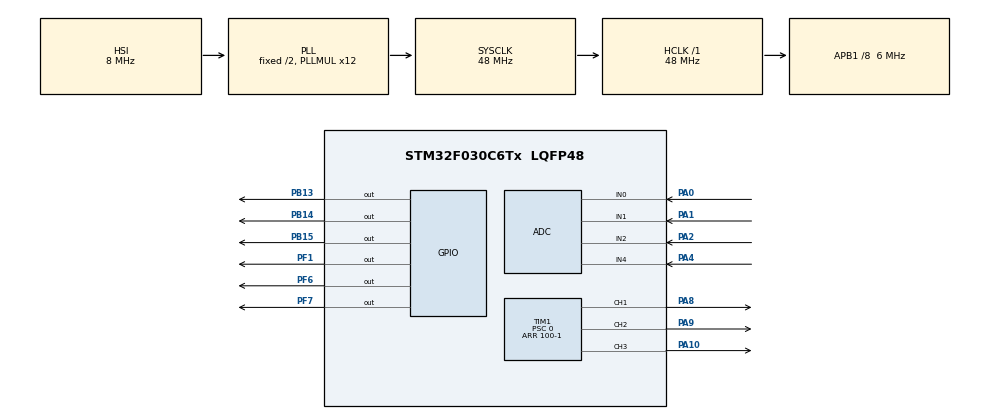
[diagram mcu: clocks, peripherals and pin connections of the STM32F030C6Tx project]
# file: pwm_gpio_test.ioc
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Mcu.Family=STM32F0
PF7.PinState=GPIO_PIN_SET
NVIC.TIM14_IRQn=true\:0\:0\:false\:false\:true\:true\:true
TIM3.AutoReloadPreload=TIM_AUTORELOAD_PRELOAD_ENABLE
TIM1.CounterMode=TIM_COUNTERMODE_CENTERALIGNED3
TIM1.Pulse-PWM\ Generation1\ CH1=50-1
RCC.APB1CLKDivider=RCC_HCLK_DIV8
PB13.Signal=GPIO_Output
PB15.Signal=GPIO_Output
RCC.SYSCLKSource=RCC_SYSCLKSOURCE_PLLCLK
ProjectManager.StackSize=0x400
TIM1.AutoReloadPreload=TIM_AUTORELOAD_PRELOAD_ENABLE
TIM1.Pulse-PWM\ Generation3\ CH3=50-1
TIM1.Prescaler=0
SH.S_TIM1_CH1.0=TIM1_CH1,PWM Generation1 CH1
NVIC.ADC1_IRQn=true\:1\:0\:true\:false\:true\:true\:true
PF6.Signal=GPIO_Output
PA4.Mode=IN4
PF6.PinState=GPIO_PIN_SET
ProjectManager.TargetToolchain=SW4STM32
PF7.Signal=GPIO_Output
RCC.HCLKFreq_Value=48000000
TIM3.Period=3
PA9.Signal=S_TIM1_CH2
TIM1.Channel-PWM\ Generation2\ CH2=TIM_CHANNEL_2
VP_TIM3_VS_ControllerModeClock.Mode=Clock Mode
PA1.Signal=ADC_IN1
RCC.AHBFreq_Value=48000000
PB14.Signal=GPIO_Output
ADC.DMAContinuousRequests=DISABLE
board=custom
TIM14.Period=500-1
RCC.PLLMUL=RCC_PLL_MUL12
NVIC.TIM3_IRQn=true\:2\:0\:true\:false\:true\:true\:true
TIM1.TIM_MasterOutputTrigger=TIM_TRGO_UPDATE
PA1.Mode=IN1
SH.S_TIM1_CH2.0=TIM1_CH2,PWM Generation2 CH2
TIM1.Channel-PWM\ Generation1\ CH1=TIM_CHANNEL_1
PA0.Mode=IN0
PF1-OSC_OUT.GPIO_Speed=GPIO_SPEED_FREQ_HIGH
PA8.Signal=S_TIM1_CH1
ADC.EOCSelection=ADC_EOC_SEQ_CONV
VP_TIM3_VS_ClockSourceITR.Mode=TriggerSource_ITR0
Mcu.Name=STM32F030C6Tx
VP_TIM1_VS_ClockSourceINT.Mode=Internal
TIM14.Prescaler=1000-1
PA2.Signal=ADC_IN2
PA0.Signal=ADC_IN0
PA4.Signal=ADC_IN4
RCC.SYSCLKFreq_VALUE=48000000
Mcu.Package=LQFP48
TIM1.Pulse-PWM\ Generation2\ CH2=50-1
TIM3.TIM_MasterSlaveMode=TIM_MASTERSLAVEMODE_DISABLE
PA10.Signal=S_TIM1_CH3
ProjectManager.HeapSize=0x200
SH.S_TIM1_CH3.0=TIM1_CH3,PWM Generation3 CH3
PA10.GPIO_Speed=GPIO_SPEED_FREQ_HIGH
RCC.APB1TimFreq_Value=12000000
PA9.GPIO_Speed=GPIO_SPEED_FREQ_HIGH
PA2.Mode=IN2
TIM1.Period=100-1
VP_TIM14_VS_ClockSourceINT.Mode=Enable_Timer
TIM1.Channel-PWM\ Generation3\ CH3=TIM_CHANNEL_3
RCC.APB1Freq_Value=6000000
ADC.ContinuousConvMode=DISABLE
PA8.GPIO_Speed=GPIO_SPEED_FREQ_HIGH
ADC.ExternalTrigConv=ADC_EXTERNALTRIGCONV_T1_TRGO
PF1-OSC_OUT.Signal=GPIO_Output
TIM1.TIM_MasterSlaveMode=TIM_MASTERSLAVEMODE_ENABLE

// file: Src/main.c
/* USER CODE BEGIN Header */
/**
  ******************************************************************************
  * @file           : main.c
  * @brief          : Main program body
  ******************************************************************************
  * @attention
  *
  * <h2><center>&copy; Copyright (c) 2020 STMicroelectronics.
  * All rights reserved.</center></h2>
  *
  * This software component is licensed by ST under BSD 3-Clause license,
  * the "License"; You may not use this file except in compliance with the
  * License. You may obtain a copy of the License at:
  *                        opensource.org/licenses/BSD-3-Clause
  *
  ******************************************************************************
  */
/* USER CODE END Header */

#include "main.h"

/* USER CODE BEGIN Includes */
#include "stm32f0xx_hal.h"
#include "CurrentController.h"
#include "StepManager.h"
/* USER CODE END Includes */

ADC_HandleTypeDef hadc;

TIM_HandleTypeDef htim1;
TIM_HandleTypeDef htim3;
TIM_HandleTypeDef htim14;

void SystemClock_Config(void);
static void MX_GPIO_Init(void);
static void MX_TIM1_Init(void);
static void MX_ADC_Init(void);
static void MX_TIM3_Init(void);
static void MX_TIM14_Init(void);

/* USER CODE BEGIN 0 */

//volatile uint32_t adc_buffer[100] = {0};
////volatile uint32_t start_tim[100] = {0};//commented out because program was too big otherwise
//volatile uint32_t end_tim[200] = {0};

volatile uint32_t c_counter; //counter for current loop characterization
volatile uint32_t c_tim[200];
volatile int32_t testcnt;
volatile uint8_t toggle;

volatile uint8_t ADC_OK;
/* USER CODE END 0 */

int main(void)
{
  /* USER CODE BEGIN 1 */
  ADC_OK = 0;
  testcnt = 0;
  toggle = 0;
  /* USER CODE END 1 */

  /* MCU Configuration--------------------------------------------------------*/

  /* Reset of all peripherals, Initializes the Flash interface and the Systick. */
  HAL_Init();

  /* Configure the system clock */
  SystemClock_Config();

  /* Initialize all configured peripherals */
  MX_GPIO_Init();
  MX_TIM1_Init();
  MX_ADC_Init();
  MX_TIM3_Init();
  MX_TIM14_Init();
  /* USER CODE BEGIN 2 */
  SM_init();
  /* USER CODE END 2 */

  /* Infinite loop */
  /* USER CODE BEGIN WHILE */

  HAL_TIM_Base_Start_IT(&htim3);
  HAL_TIM_Base_Start_IT(&htim14);
  HAL_ADC_Start_IT(&hadc);

  while (1)
  {
    /* USER CODE END WHILE */

  }
}

void SystemClock_Config(void)
{
  RCC_OscInitTypeDef RCC_OscInitStruct = {0};
  RCC_ClkInitTypeDef RCC_ClkInitStruct = {0};

  /** Initializes the CPU, AHB and APB busses clocks
  */
  RCC_OscInitStruct.OscillatorType = RCC_OSCILLATORTYPE_HSI|RCC_OSCILLATORTYPE_HSI14;
  RCC_OscInitStruct.HSIState = RCC_HSI_ON;
  RCC_OscInitStruct.HSI14State = RCC_HSI14_ON;
  RCC_OscInitStruct.HSICalibrationValue = RCC_HSICALIBRATION_DEFAULT;
  RCC_OscInitStruct.HSI14CalibrationValue = 16;
  RCC_OscInitStruct.PLL.PLLState = RCC_PLL_ON;
  RCC_OscInitStruct.PLL.PLLSource = RCC_PLLSOURCE_HSI;
  RCC_OscInitStruct.PLL.PLLMUL = RCC_PLL_MUL12;
  RCC_OscInitStruct.PLL.PREDIV = RCC_PREDIV_DIV1;
  if (HAL_RCC_OscConfig(&RCC_OscInitStruct) != HAL_OK)
  {
    Error_Handler();
  }
  /** Initializes the CPU, AHB and APB busses clocks
  */
  RCC_ClkInitStruct.ClockType = RCC_CLOCKTYPE_HCLK|RCC_CLOCKTYPE_SYSCLK
                              |RCC_CLOCKTYPE_PCLK1;
  RCC_ClkInitStruct.SYSCLKSource = RCC_SYSCLKSOURCE_PLLCLK;
  RCC_ClkInitStruct.AHBCLKDivider = RCC_SYSCLK_DIV1;
  RCC_ClkInitStruct.APB1CLKDivider = RCC_HCLK_DIV8;

  if (HAL_RCC_ClockConfig(&RCC_ClkInitStruct, FLASH_LATENCY_1) != HAL_OK)
  {
    Error_Handler();
  }
}

static void MX_ADC_Init(void)
{

  ADC_ChannelConfTypeDef sConfig = {0};

  /** Configure the global features of the ADC (Clock, Resolution, Data Alignment and number of conversion)
  */
  hadc.Instance = ADC1;
  hadc.Init.ClockPrescaler = ADC_CLOCK_ASYNC_DIV1;
  hadc.Init.Resolution = ADC_RESOLUTION_12B;
  hadc.Init.DataAlign = ADC_DATAALIGN_RIGHT;
  hadc.Init.ScanConvMode = ADC_SCAN_DIRECTION_FORWARD;
  hadc.Init.EOCSelection = ADC_EOC_SEQ_CONV;
  hadc.Init.LowPowerAutoWait = DISABLE;
  hadc.Init.LowPowerAutoPowerOff = DISABLE;
  hadc.Init.ContinuousConvMode = DISABLE;
  hadc.Init.DiscontinuousConvMode = DISABLE;
  hadc.Init.ExternalTrigConv = ADC_EXTERNALTRIGCONV_T1_TRGO;
  hadc.Init.ExternalTrigConvEdge = ADC_EXTERNALTRIGCONVEDGE_RISING;
  hadc.Init.DMAContinuousRequests = DISABLE;
  hadc.Init.Overrun = ADC_OVR_DATA_OVERWRITTEN;
  if (HAL_ADC_Init(&hadc) != HAL_OK)
  {
    Error_Handler();
  }
  /** Configure for the selected ADC regular channel to be converted.
  */
  sConfig.Channel = ADC_CHANNEL_0;
  sConfig.Rank = ADC_RANK_CHANNEL_NUMBER;
  sConfig.SamplingTime = ADC_SAMPLETIME_1CYCLE_5;
  if (HAL_ADC_ConfigChannel(&hadc, &sConfig) != HAL_OK)
  {
    Error_Handler();
  }
  /** Configure for the selected ADC regular channel to be converted.
  */
  sConfig.Channel = ADC_CHANNEL_1;
  if (HAL_ADC_ConfigChannel(&hadc, &sConfig) != HAL_OK)
  {
    Error_Handler();
  }
  /** Configure for the selected ADC regular channel to be converted.
  */
  sConfig.Channel = ADC_CHANNEL_2;
  if (HAL_ADC_ConfigChannel(&hadc, &sConfig) != HAL_OK)
  {
    Error_Handler();
  }
  /** Configure for the selected ADC regular channel to be converted.
  */
  sConfig.Channel = ADC_CHANNEL_4;
  if (HAL_ADC_ConfigChannel(&hadc, &sConfig) != HAL_OK)
  {
    Error_Handler();
  }

}

static void MX_TIM1_Init(void)
{

  TIM_ClockConfigTypeDef sClockSourceConfig = {0};
  TIM_MasterConfigTypeDef sMasterConfig = {0};
  TIM_OC_InitTypeDef sConfigOC = {0};
  TIM_BreakDeadTimeConfigTypeDef sBreakDeadTimeConfig = {0};

  htim1.Instance = TIM1;
  htim1.Init.Prescaler = 0;
  htim1.Init.CounterMode = TIM_COUNTERMODE_CENTERALIGNED1;
  htim1.Init.Period = 100-1;
  htim1.Init.ClockDivision = TIM_CLOCKDIVISION_DIV1;
  htim1.Init.RepetitionCounter = 0;
  htim1.Init.AutoReloadPreload = TIM_AUTORELOAD_PRELOAD_ENABLE;
  if (HAL_TIM_Base_Init(&htim1) != HAL_OK)
  {
    Error_Handler();
  }
  sClockSourceConfig.ClockSource = TIM_CLOCKSOURCE_INTERNAL;
  if (HAL_TIM_ConfigClockSource(&htim1, &sClockSourceConfig) != HAL_OK)
  {
    Error_Handler();
  }
  if (HAL_TIM_PWM_Init(&htim1) != HAL_OK)
  {
    Error_Handler();
  }
  sMasterConfig.MasterOutputTrigger = TIM_TRGO_UPDATE;
  sMasterConfig.MasterSlaveMode = TIM_MASTERSLAVEMODE_ENABLE;
  if (HAL_TIMEx_MasterConfigSynchronization(&htim1, &sMasterConfig) != HAL_OK)
  {
    Error_Handler();
  }
  sConfigOC.OCMode = TIM_OCMODE_PWM1;
  sConfigOC.Pulse = 0;
  sConfigOC.OCPolarity = TIM_OCPOLARITY_HIGH;
  sConfigOC.OCNPolarity = TIM_OCNPOLARITY_HIGH;
  sConfigOC.OCFastMode = TIM_OCFAST_DISABLE;
  sConfigOC.OCIdleState = TIM_OCIDLESTATE_RESET;
  sConfigOC.OCNIdleState = TIM_OCNIDLESTATE_RESET;
  if (HAL_TIM_PWM_ConfigChannel(&htim1, &sConfigOC, TIM_CHANNEL_1) != HAL_OK)
  {
    Error_Handler();
  }
  if (HAL_TIM_PWM_ConfigChannel(&htim1, &sConfigOC, TIM_CHANNEL_2) != HAL_OK)
  {
    Error_Handler();
  }
  if (HAL_TIM_PWM_ConfigChannel(&htim1, &sConfigOC, TIM_CHANNEL_3) != HAL_OK)
  {
    Error_Handler();
  }
  sBreakDeadTimeConfig.OffStateRunMode = TIM_OSSR_DISABLE;
  sBreakDeadTimeConfig.OffStateIDLEMode = TIM_OSSI_DISABLE;
  sBreakDeadTimeConfig.LockLevel = TIM_LOCKLEVEL_OFF;
  sBreakDeadTimeConfig.DeadTime = 0;
  sBreakDeadTimeConfig.BreakState = TIM_BREAK_DISABLE;
  sBreakDeadTimeConfig.BreakPolarity = TIM_BREAKPOLARITY_HIGH;
  sBreakDeadTimeConfig.AutomaticOutput = TIM_AUTOMATICOUTPUT_DISABLE;
  if (HAL_TIMEx_ConfigBreakDeadTime(&htim1, &sBreakDeadTimeConfig) != HAL_OK)
  {
    Error_Handler();
  }
  HAL_TIM_MspPostInit(&htim1);

}

static void MX_TIM3_Init(void)
{

  TIM_SlaveConfigTypeDef sSlaveConfig = {0};
  TIM_MasterConfigTypeDef sMasterConfig = {0};

  htim3.Instance = TIM3;
  htim3.Init.Prescaler = 0;
  htim3.Init.CounterMode = TIM_COUNTERMODE_UP;
  htim3.Init.Period = 12;
  htim3.Init.ClockDivision = TIM_CLOCKDIVISION_DIV1;
  htim3.Init.AutoReloadPreload = TIM_AUTORELOAD_PRELOAD_ENABLE;
  if (HAL_TIM_Base_Init(&htim3) != HAL_OK)
  {
    Error_Handler();
  }
  sSlaveConfig.SlaveMode = TIM_SLAVEMODE_EXTERNAL1;
  sSlaveConfig.InputTrigger = TIM_TS_ITR0;
  if (HAL_TIM_SlaveConfigSynchro(&htim3, &sSlaveConfig) != HAL_OK)
  {
    Error_Handler();
  }
  sMasterConfig.MasterOutputTrigger = TIM_TRGO_RESET;
  sMasterConfig.MasterSlaveMode = TIM_MASTERSLAVEMODE_DISABLE;
  if (HAL_TIMEx_MasterConfigSynchronization(&htim3, &sMasterConfig) != HAL_OK)
  {
    Error_Handler();
  }

}

static void MX_TIM14_Init(void)
{

  htim14.Instance = TIM14;
  htim14.Init.Prescaler = 1000-1;
  htim14.Init.CounterMode = TIM_COUNTERMODE_UP;
  htim14.Init.Period = 500-1;
  htim14.Init.ClockDivision = TIM_CLOCKDIVISION_DIV1;
  htim14.Init.AutoReloadPreload = TIM_AUTORELOAD_PRELOAD_DISABLE;
  if (HAL_TIM_Base_Init(&htim14) != HAL_OK)
  {
    Error_Handler();
  }

}

static void MX_GPIO_Init(void)
{
  GPIO_InitTypeDef GPIO_InitStruct = {0};

  /* GPIO Ports Clock Enable */
  __HAL_RCC_GPIOF_CLK_ENABLE();
  __HAL_RCC_GPIOA_CLK_ENABLE();
  __HAL_RCC_GPIOB_CLK_ENABLE();

  /*Configure GPIO pin Output Level */
  HAL_GPIO_WritePin(GPIOF, GPIO_PIN_1, GPIO_PIN_RESET);

  /*Configure GPIO pin Output Level */
  HAL_GPIO_WritePin(GPIOB, GPIO_PIN_13|GPIO_PIN_14|GPIO_PIN_15, GPIO_PIN_RESET);

  /*Configure GPIO pin Output Level */
  HAL_GPIO_WritePin(GPIOF, GPIO_PIN_6|GPIO_PIN_7, GPIO_PIN_SET);

  /*Configure GPIO pin : PF1 */
  GPIO_InitStruct.Pin = GPIO_PIN_1;
  GPIO_InitStruct.Mode = GPIO_MODE_OUTPUT_PP;
  GPIO_InitStruct.Pull = GPIO_NOPULL;
  GPIO_InitStruct.Speed = GPIO_SPEED_FREQ_HIGH;
  HAL_GPIO_Init(GPIOF, &GPIO_InitStruct);

  /*Configure GPIO pins : PB13 PB14 PB15 */
  GPIO_InitStruct.Pin = GPIO_PIN_13|GPIO_PIN_14|GPIO_PIN_15;
  GPIO_InitStruct.Mode = GPIO_MODE_OUTPUT_PP;
  GPIO_InitStruct.Pull = GPIO_NOPULL;
  GPIO_InitStruct.Speed = GPIO_SPEED_FREQ_LOW;
  HAL_GPIO_Init(GPIOB, &GPIO_InitStruct);

  /*Configure GPIO pins : PF6 PF7 */
  GPIO_InitStruct.Pin = GPIO_PIN_6|GPIO_PIN_7;
  GPIO_InitStruct.Mode = GPIO_MODE_OUTPUT_PP;
  GPIO_InitStruct.Pull = GPIO_NOPULL;
  GPIO_InitStruct.Speed = GPIO_SPEED_FREQ_LOW;
  HAL_GPIO_Init(GPIOF, &GPIO_InitStruct);

}

/* USER CODE BEGIN 4 */

//just some dummy variables to test the control loop
volatile double isamp, iref, bemf_estimation, motor_vsupply;

void HAL_ADC_ConvCpltCallback(ADC_HandleTypeDef* hadc){
  /* This is called after the conversion is completed */

//	if (toggle)
//	{
//		testcnt++;
//	}
//	else
//	{
//		testcnt--;
//	}
//	toggle = !toggle;
  if(__HAL_TIM_IS_TIM_COUNTING_DOWN(&htim1))
  {
  	  //read bemf
	  if (ADC_OK)
  		 SM_sampleBEMF();

  }
  else
  {
  	  //read current
	  if (ADC_OK)
  		  SM_sampleCurrent();

  }

  ADC_OK = 1;
}

/* USER CODE END 4 */

void Error_Handler(void)
{
}

/************************ (C) COPYRIGHT STMicroelectronics *****END OF FILE****/
